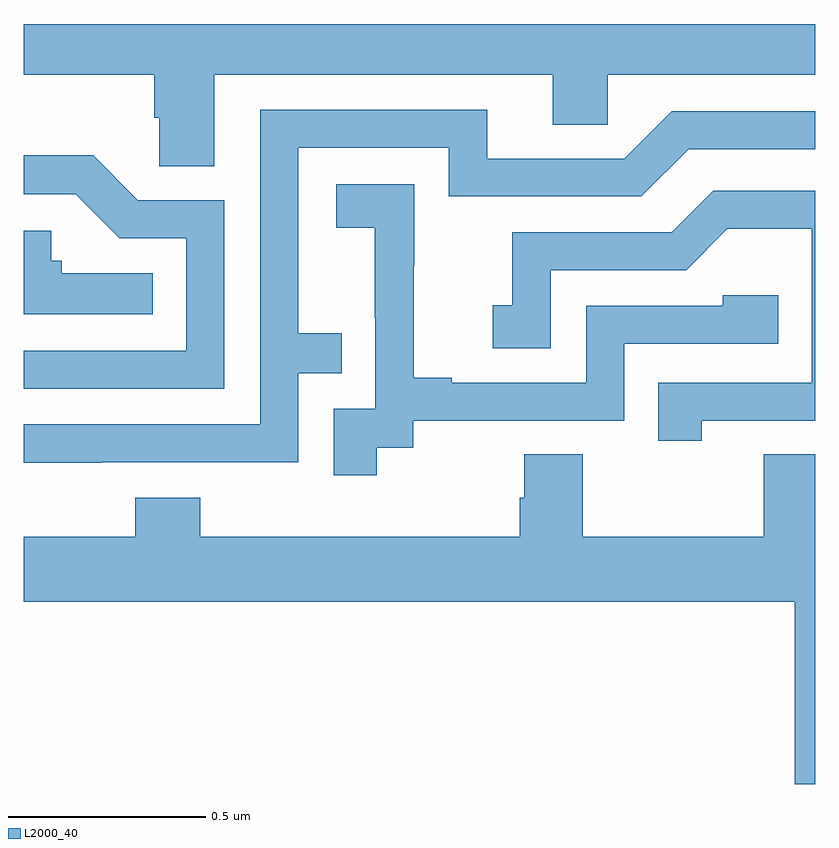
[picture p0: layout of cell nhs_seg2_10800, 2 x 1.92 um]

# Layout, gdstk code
import gdstk
lib = gdstk.Library(unit=1e-6, precision=1e-09)
def P(c, l, *ps):  # polygons
    for p in ps: c.add(gdstk.Polygon(p, *l))
L2000_40 = (2000, 40)

nhs_seg2_10800 = lib.new_cell('nhs_seg2_10800')
P(nhs_seg2_10800, L2000_40, [(246.481,611.672),(247.337,611.672),(247.337,611.545),(247.476,611.545),(247.476,611.672),(248,611.672),(248,611.8),(246,611.8),(246,611.672),(246.329,611.672),(246.329,611.563),(246.342,611.563),(246.342,611.44),(246.481,611.44)],
  [(246.197,610.692),(246.693,610.692),(246.693,610.917),(246.803,610.917),(246.803,611.018),(246.693,611.018),(246.693,611.487),(247.074,611.487),(247.074,611.364),(247.56,611.364),(247.68,611.484),(248,611.484),(248,611.58),(247.638,611.58),(247.518,611.46),(247.171,611.46),(247.171,611.583),(246.597,611.583),(246.597,610.788),(246,610.788),(246,610.691),(246.197,610.691)],
  [(246.507,611.355),(246.288,611.355),(246.175,611.468),(246,611.468),(246,611.37),(246.131,611.37),(246.242,611.259),(246.411,611.259),(246.411,610.974),(246,610.974),(246,610.878),(246.507,610.878)],
  [(246.892,610.729),(246.984,610.729),(246.984,610.797),(247.518,610.797),(247.518,610.992),(247.907,610.992),(247.907,611.115),(247.767,611.115),(247.767,611.088),(247.422,611.088),(247.422,610.893),(247.081,610.893),(247.081,610.906),(246.986,610.906),(246.986,611.189),(246.987,611.189),(246.987,611.395),(246.789,611.395),(246.789,611.285),(246.887,611.285),(246.887,611.057),(246.888,611.057),(246.888,610.827),(246.783,610.827),(246.783,610.659),(246.892,610.659)],
  [(247.714,610.797),(248,610.797),(248,611.379),(247.742,611.379),(247.637,611.274),(247.234,611.274),(247.234,611.089),(247.185,611.089),(247.185,610.98),(247.332,610.98),(247.332,611.178),(247.674,611.178),(247.778,611.282),(247.992,611.282),(247.992,610.893),(247.603,610.893),(247.603,610.746),(247.714,610.746)],
  [(246.326,611.17),(246.096,611.17),(246.096,611.202),(246.069,611.202),(246.069,611.278),(246,611.278),(246,611.066),(246.326,611.066)],
  [(248,610.712),(247.87,610.712),(247.87,610.504),(247.413,610.504),(247.413,610.712),(247.265,610.712),(247.265,610.602),(247.253,610.602),(247.253,610.504),(246.446,610.504),(246.446,610.603),(246.281,610.603),(246.281,610.504),(246,610.504),(246,610.34),(247.949,610.34),(247.949,609.879),(248,609.879)])

lib.write_gds('nhs_seg2_10800.gds')
